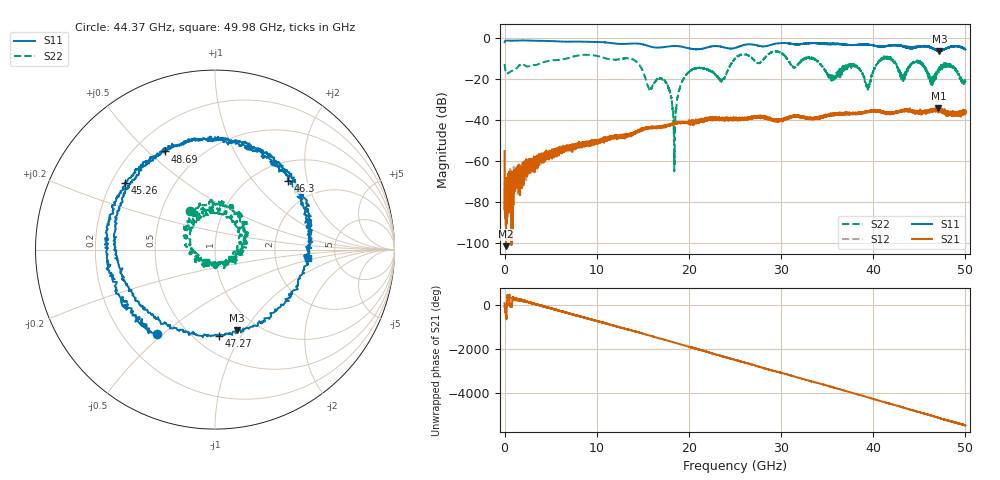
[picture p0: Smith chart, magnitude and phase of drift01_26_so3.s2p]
!Created with skrf (http://scikit-rf.org).
# Hz S RI R 50.0
!freq ReS11 ImS11 ReS21 ImS21 ReS12 ImS12 ReS22 ImS22
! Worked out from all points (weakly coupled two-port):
!   10001 points, 300 kHz to 50 GHz, reference 50 ohm
!   highest |S21| = -34.28 dB at 47.07 GHz (marker M1); lowest = -101.7 dB at 150.3 MHz (marker M2)
!   lowest |S11| = -6.6 dB at 47.18 GHz (marker M3), VSWR 2.75, Z = 40.1 - j46.2 ohm
!   |S11| at or under -10 dB: nowhere
!   |S22| runs from -65.2 to -6.7 dB; largest |S21 - S12| = 0.0039
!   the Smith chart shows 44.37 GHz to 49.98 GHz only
!   S11 on the Smith chart (normalised r, x): 44.37 GHz: 0.34, -0.48; 45.26 GHz: 0.26, +0.31; 46.3 GHz: 1.37, +1.53; 47.27 GHz: 0.65, -0.81; 48.69 GHz: 0.32, +0.56; 49.98 GHz: 3.10, -0.41
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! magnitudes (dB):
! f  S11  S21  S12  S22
! 300 kHz  -2.2  -55.3  -57.9  -12.8
! 150.3 MHz  -1.5  -101.7  -83.3  -17.3
! 8.335 GHz  -1.9  -52.3  -52.0  -8.5
! 16.67 GHz  -4.8  -43.5  -44.1  -20.0
! 17.74 GHz  -4.3  -42.6  -42.9  -23.8
! 18.43 GHz  -4.1  -41.9  -41.9  -61.8
! 19.9 GHz  -5.1  -41.5  -41.3  -17.1
! 23.6 GHz  -4.5  -40.3  -40.0  -20.7
! 25 GHz  -5.0  -40.3  -39.8  -10.3
! 33.34 GHz  -2.6  -39.4  -39.3  -9.9
! 39.46 GHz  -3.3  -35.9  -36.2  -23.3
! 41.67 GHz  -3.9  -36.8  -36.7  -10.1
! 43.18 GHz  -4.2  -35.8  -35.8  -18.8
! 44.37 GHz  -4.8  -35.6  -36.1  -11.8
! 45.26 GHz  -4.1  -36.9  -36.3  -13.0
! 46.3 GHz  -5.1  -36.3  -35.8  -22.9
! 47.07 GHz  -6.4  -34.3  -35.1  -16.5
! 47.18 GHz  -6.6  -34.8  -35.3  -14.7
! 47.27 GHz  -6.4  -35.6  -35.7  -15.8
! 48.69 GHz  -4.2  -37.3  -37.4  -14.1
! 49.98 GHz  -5.7  -37.2  -36.7  -21.3
! 50 GHz  -5.7  -35.5  -36.0  -21.7
